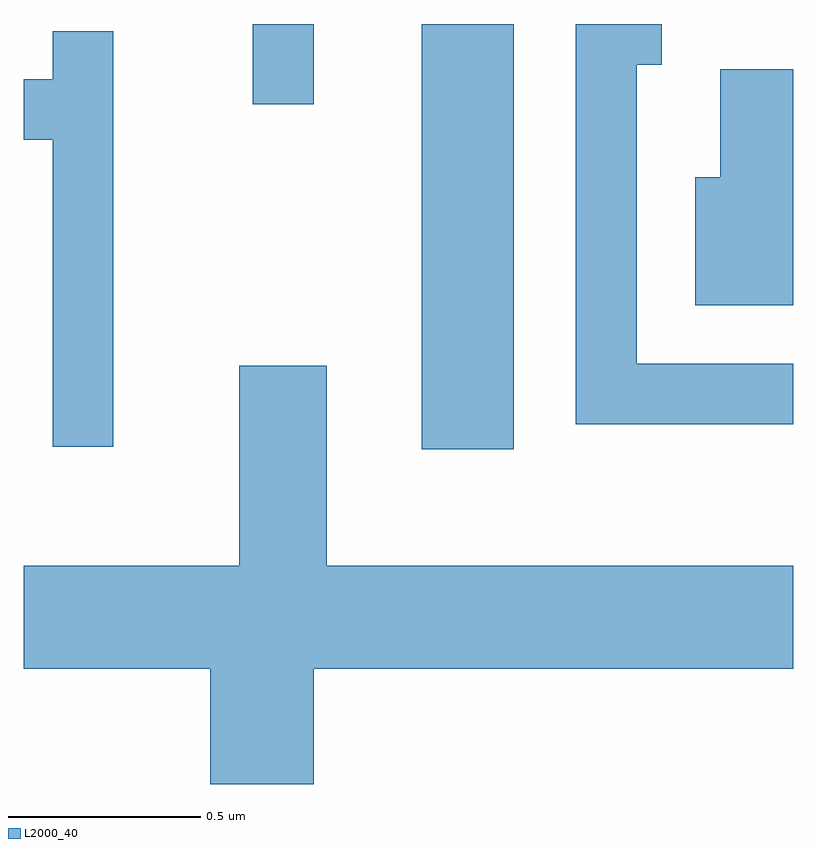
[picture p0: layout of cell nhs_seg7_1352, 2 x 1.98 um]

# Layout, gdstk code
import gdstk
lib = gdstk.Library(unit=1e-6, precision=1e-09)
def R(c, l, rs):  # rectangles x0, y0, x1, y1
    for r in rs: c.add(gdstk.rectangle(r[:2], r[2:], *l))
def P(c, l, *ps):  # polygons
    for p in ps: c.add(gdstk.Polygon(p, *l))
L2000_40 = (2000, 40)

nhs_seg7_1352 = lib.new_cell('nhs_seg7_1352')
R(nhs_seg7_1352, L2000_40, [(195.646,1788.146,195.884,1789.252), (195.206,1789.043,195.364,1789.252)])
P(nhs_seg7_1352, L2000_40, [(196.611,1788.369),(196.204,1788.369),(196.204,1789.146),(196.269,1789.146),(196.269,1789.252),(196.046,1789.252),(196.046,1788.211),(196.611,1788.211)],
  [(194.844,1789.233),(194.686,1789.233),(194.686,1789.109),(194.611,1789.109),(194.611,1788.951),(194.686,1788.951),(194.686,1788.153),(194.844,1788.153)],
  [(196.611,1789.134),(196.421,1789.134),(196.421,1788.854),(196.356,1788.854),(196.356,1788.521),(196.611,1788.521)],
  [(195.364,1787.576),(196.611,1787.576),(196.611,1787.844),(195.399,1787.844),(195.399,1788.364),(195.171,1788.364),(195.171,1787.844),(194.611,1787.844),(194.611,1787.576),(195.096,1787.576),(195.096,1787.276),(195.364,1787.276)])

lib.write_gds('nhs_seg7_1352.gds')
